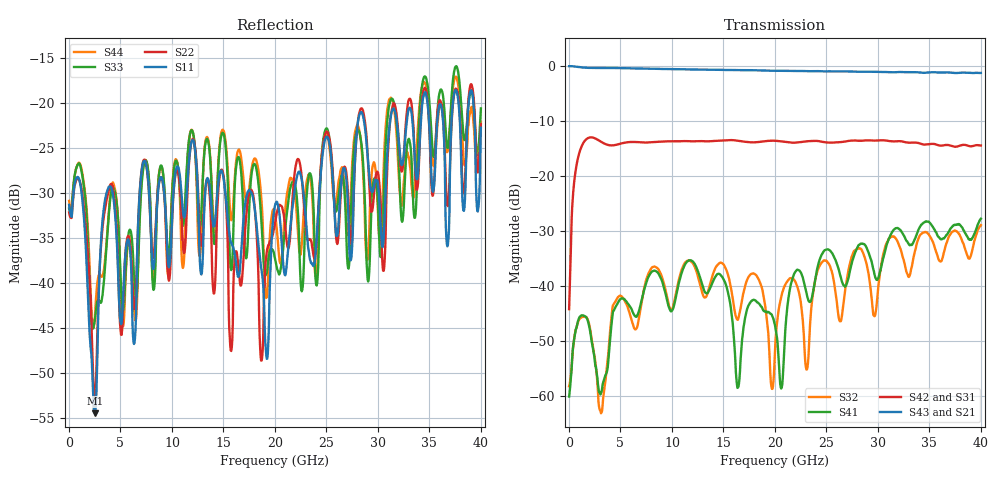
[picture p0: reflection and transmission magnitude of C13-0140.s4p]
! MARKI MICROWAVE INC.
! Email:  info@markimicrowave.com  Phone:  408-778-4200
! Model Number:  C13-0140  Date:  02/15
! Filename:		C13_0140.S4P  Version: 1.0
! Description:  4-port S-parameter data for Directional Coupler C13-0140
! Frequency Range: 	10 MHz to 40 GHz
! Port Configuration:	PORT 1: Input
!  PORT 2: Output
!  Port 3: Coupled
!  Port 4: Isolated
! S4P File: Measurements: Mag<S11> Ang<S11> Mag<S12> Ang<S12> Mag<S13> Ang<S13> Mag<S14> Ang<S14>! row 1
!  Mag<S21> Ang<S21> Mag<S22> Ang<S22> Mag<S23> Ang<S23> Mag<S24> Ang<S24>! row 2
!  Mag<S31> Ang<S31> Mag<S32> Ang<S32> Mag<S33> Ang<S33> Mag<S34> Ang<S34>! row 3
!  Mag<S41> Ang<S41> Mag<S42> Ang<S42> Mag<S43> Ang<S43> Mag<S44> Ang<S44>! row 4
# Hz S DB R 50
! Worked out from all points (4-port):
!   801 points, 10 MHz to 40 GHz, reference 50 ohm
!   strongest paths, dB at 10 MHz, 10.01 GHz, 20 GHz, 30 GHz, 40 GHz:
!     S43: -0.1, -0.6, -0.9, -1.1, -1.3
!     S21: 0.0, -0.6, -0.9, -1.1, -1.3
!     S42: -44.2, -13.7, -13.6, -13.6, -14.5
!     S31: -42.1, -13.7, -13.7, -13.6, -14.5
!     S41: -60.0, -44.4, -47.1, -38.6, -27.8
!     S32: -58.2, -44.1, -51.6, -40.6, -28.9
!   lowest |S11| = -54.5 dB at 2.509 GHz (marker M1), VSWR 1.00, Z = 49.8 + j0.0611 ohm
!   |S11| at or under -10 dB: start of sweep to end of sweep
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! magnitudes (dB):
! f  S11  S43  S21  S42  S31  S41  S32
! 10 MHz  -31.3  -0.1  0.0  -44.2  -42.1  -60.0  -58.2
! 2.509 GHz  -54.5  -0.4  -0.4  -13.2  -13.2  -53.7  -53.1
! 3.559 GHz  -30.4  -0.4  -0.4  -14.2  -14.2  -56.1  -56.8
! 7.308 GHz  -26.4  -0.5  -0.5  -13.9  -14.0  -40.6  -40.3
! 20.6 GHz  -34.7  -0.9  -0.9  -13.7  -13.8  -58.6  -42.0
! 22.1 GHz  -28.3  -0.9  -1.0  -13.9  -14.0  -37.1  -39.7
! 40 GHz  -22.7  -1.3  -1.3  -14.5  -14.5  -27.8  -28.9
